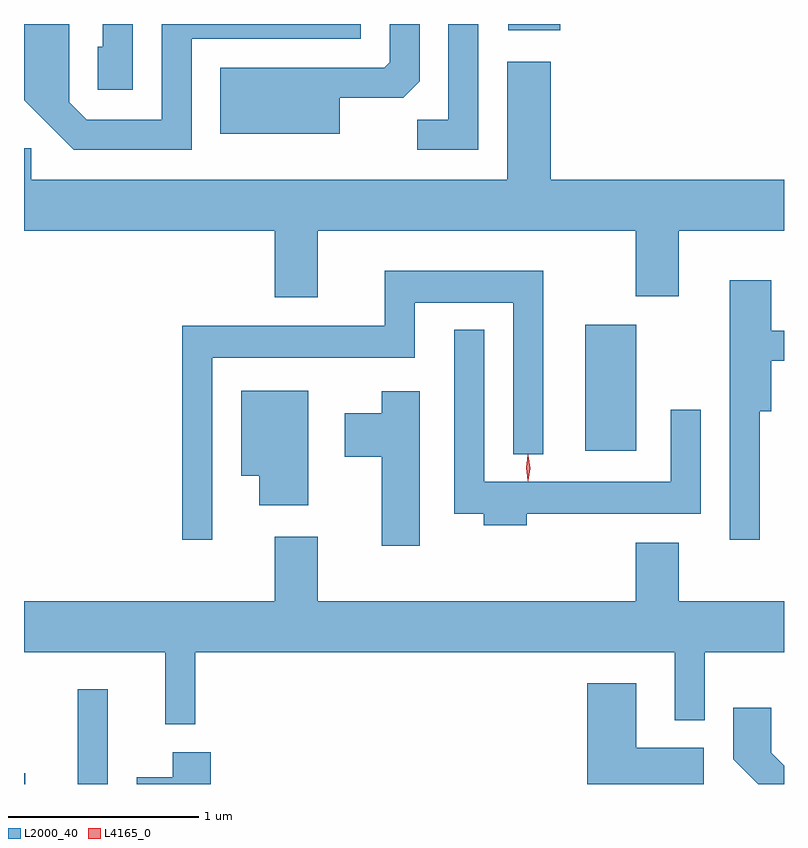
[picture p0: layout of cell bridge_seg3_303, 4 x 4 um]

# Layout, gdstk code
import gdstk
lib = gdstk.Library(unit=1e-6, precision=1e-09)
def R(c, l, rs):  # rectangles x0, y0, x1, y1
    for r in rs: c.add(gdstk.rectangle(r[:2], r[2:], *l))
def P(c, l, *ps):  # polygons
    for p in ps: c.add(gdstk.Polygon(p, *l))
L2000_40 = (2000, 40)
L4165_0 = (4165, 0)

bridge_seg3_303 = lib.new_cell('bridge_seg3_303')
R(bridge_seg3_303, L2000_40, [(563.432,1169.723,563.439,1169.779), (563.716,1169.723,563.874,1170.223), (566.386,1171.476,566.654,1172.139), (565.981,1173.691,566.254,1173.723)])
P(bridge_seg3_303, L2000_40, [(565.094,1173.336),(565.429,1173.336),(565.514,1173.422),(565.514,1173.723),(565.356,1173.723),(565.356,1173.522),(565.329,1173.494),(564.466,1173.494),(564.466,1173.146),(565.094,1173.146)],
  [(564.004,1173.723),(563.846,1173.723),(563.846,1173.604),(563.821,1173.604),(563.821,1173.376),(564.004,1173.376)],
  [(564.314,1173.646),(565.204,1173.646),(565.204,1173.723),(564.156,1173.723),(564.156,1173.219),(563.762,1173.219),(563.669,1173.312),(563.669,1173.723),(563.432,1173.723),(563.432,1173.323),(563.694,1173.061),(564.314,1173.061)],
  [(565.824,1173.723),(565.666,1173.723),(565.666,1173.219),(565.503,1173.219),(565.503,1173.061),(565.824,1173.061)],
  [(564.979,1172.636),(566.651,1172.636),(566.651,1172.291),(566.879,1172.291),(566.879,1172.636),(567.432,1172.636),(567.432,1172.904),(566.204,1172.904),(566.204,1173.524),(565.976,1173.524),(565.976,1172.904),(563.469,1172.904),(563.469,1173.069),(563.432,1173.069),(563.432,1172.636),(564.751,1172.636),(564.751,1172.286),(564.979,1172.286)],
  [(564.424,1171.966),(565.489,1171.966),(565.489,1172.256),(566.006,1172.256),(566.006,1171.458),(566.164,1171.458),(566.164,1172.424),(565.331,1172.424),(565.331,1172.134),(564.266,1172.134),(564.266,1171.008),(564.424,1171.008)],
  [(567.304,1171.686),(567.364,1171.686),(567.364,1171.951),(567.432,1171.951),(567.432,1172.109),(567.364,1172.109),(567.364,1172.374),(567.146,1172.374),(567.146,1171.008),(567.304,1171.008)],
  [(566.079,1171.146),(566.994,1171.146),(566.994,1171.693),(566.836,1171.693),(566.836,1171.314),(565.854,1171.314),(565.854,1172.113),(565.696,1172.113),(565.696,1171.146),(565.851,1171.146),(565.851,1171.086),(566.079,1171.086)],
  [(564.929,1171.794),(564.576,1171.794),(564.576,1171.346),(564.671,1171.346),(564.671,1171.191),(564.929,1171.191)],
  [(565.514,1171.789),(565.316,1171.789),(565.316,1171.674),(565.121,1171.674),(565.121,1171.446),(565.316,1171.446),(565.316,1170.976),(565.514,1170.976)],
  [(566.856,1170.058),(567.014,1170.058),(567.014,1170.416),(567.432,1170.416),(567.432,1170.684),(566.879,1170.684),(566.879,1170.994),(566.651,1170.994),(566.651,1170.684),(564.979,1170.684),(564.979,1171.024),(564.751,1171.024),(564.751,1170.684),(563.432,1170.684),(563.432,1170.416),(564.176,1170.416),(564.176,1170.038),(564.334,1170.038),(564.334,1170.416),(566.856,1170.416)],
  [(567.009,1169.914),(566.654,1169.914),(566.654,1170.254),(566.396,1170.254),(566.396,1169.723),(567.009,1169.723)],
  [(567.432,1169.819),(567.364,1169.887),(567.364,1170.124),(567.166,1170.124),(567.166,1169.854),(567.297,1169.723),(567.432,1169.723)],
  [(564.414,1169.889),(564.216,1169.889),(564.216,1169.759),(564.026,1169.759),(564.026,1169.723),(564.414,1169.723)])
P(bridge_seg3_303, L4165_0, [(566.086,1171.32),(566.086,1171.32),(566.076,1171.386),(566.085,1171.452),(566.086,1171.453),(566.086,1171.452),(566.096,1171.386),(566.086,1171.32)],
  [(566.085,1171.317),(566.084,1171.318),(566.075,1171.387),(566.084,1171.456),(566.085,1171.456),(566.086,1171.456),(566.095,1171.387),(566.086,1171.318)])

lib.write_gds('bridge_seg3_303.gds')
